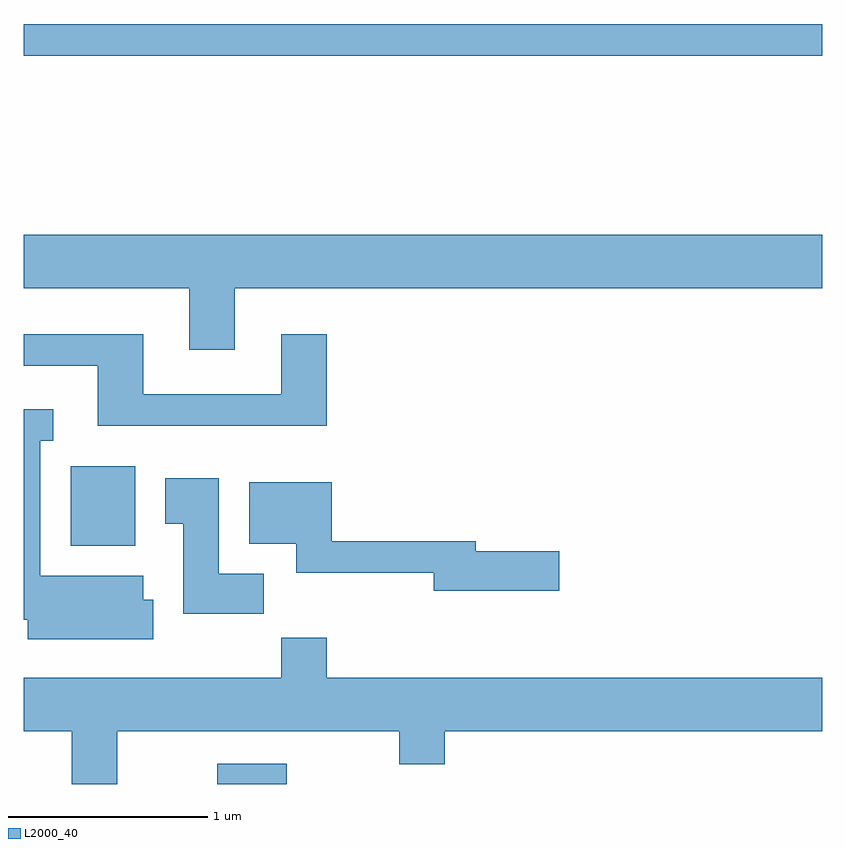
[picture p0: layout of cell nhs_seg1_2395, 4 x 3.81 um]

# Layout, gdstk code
import gdstk
lib = gdstk.Library(unit=1e-6, precision=1e-09)
def R(c, l, rs):  # rectangles x0, y0, x1, y1
    for r in rs: c.add(gdstk.rectangle(r[:2], r[2:], *l))
def P(c, l, *ps):  # polygons
    for p in ps: c.add(gdstk.Polygon(p, *l))
L2000_40 = (2000, 40)

nhs_seg1_2395 = lib.new_cell('nhs_seg1_2395')
R(nhs_seg1_2395, L2000_40, [(258.581,943.712,258.928,943.814), (257.846,944.906,258.169,945.304), (257.611,947.361,261.611,947.519)])
P(nhs_seg1_2395, L2000_40, [(258.669,946.196),(261.611,946.196),(261.611,946.464),(257.611,946.464),(257.611,946.196),(258.441,946.196),(258.441,945.886),(258.669,945.886)],
  [(259.129,945.964),(258.901,945.964),(258.901,945.664),(258.209,945.664),(258.209,945.964),(257.611,945.964),(257.611,945.806),(257.981,945.806),(257.981,945.506),(259.129,945.506)],
  [(258.259,944.634),(258.209,944.634),(258.209,944.754),(257.694,944.754),(257.694,945.431),(257.758,945.431),(257.758,945.589),(257.611,945.589),(257.611,944.536),(257.631,944.536),(257.631,944.436),(258.259,944.436)],
  [(258.814,944.764),(258.589,944.764),(258.589,945.244),(258.321,945.244),(258.321,945.016),(258.411,945.016),(258.411,944.566),(258.814,944.566)],
  [(260.294,944.879),(259.874,944.879),(259.874,944.929),(259.154,944.929),(259.154,945.224),(258.741,945.224),(258.741,944.916),(258.976,944.916),(258.976,944.771),(259.666,944.771),(259.666,944.681),(260.294,944.681)],
  [(258.079,943.976),(259.491,943.976),(259.491,943.811),(259.719,943.811),(259.719,943.976),(261.611,943.976),(261.611,944.244),(259.129,944.244),(259.129,944.444),(258.901,944.444),(258.901,944.244),(257.611,944.244),(257.611,943.976),(257.851,943.976),(257.851,943.712),(258.079,943.712)])

lib.write_gds('nhs_seg1_2395.gds')
